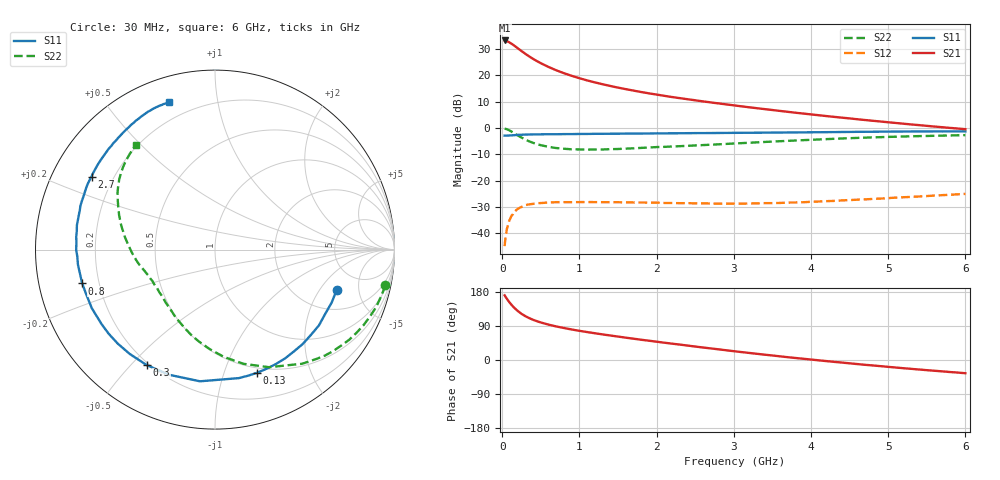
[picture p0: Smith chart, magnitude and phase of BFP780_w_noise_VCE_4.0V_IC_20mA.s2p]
! Infineon Technologies  Discrete & RF Semiconductors
! BFP780
! VCE =  4.0 V,  IC =  20 mA
! Common Emitter S-Parameters:  Jul 2015
# GHz  S  MA  R  50
!  f  S11  S21  S12  S22
! GHz  MAG  ANG  MAG  ANG  MAG  ANG  MAG  ANG
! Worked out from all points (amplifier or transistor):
!   75 points, 30 MHz to 6 GHz, reference 50 ohm
!   highest |S21| = 33.2 dB at 30 MHz (marker M1)
!   |S21| within 3 dB of that: start of sweep to 202 MHz
!   unconditionally stable (mu >= 1): 2.334 GHz to end of sweep
!   at 150 MHz: K = 0.10, MSG = 31.7 dB, |S12| = -32.0 dB
!   at 2.3 GHz: K = 0.99, MSG = 19.9 dB, |S12| = -28.6 dB
!   at 6 GHz: K = 1.32, MAG = 8.9 dB, |S12| = -25.0 dB
!   lowest NFmin = 0.94 dB at 450 MHz
!   S11 on the Smith chart (normalised r, x): 30 MHz: 3.15, -2.91; 130 MHz: 0.45, -1.30; 300 MHz: 0.19, -0.55; 800 MHz: 0.14, -0.12; 2.7 GHz: 0.12, +0.27; 6 GHz: 0.12, +0.73
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0.03  0.7141 -18.5  45.73 170.6  0.0057 75.0  0.9698 -11.9
0.05  0.7109 -30.4  44.95 164.2  0.0097 67.9  0.9531 -19.6
0.08  0.7181 -47.1  42.97 155.6  0.0154 65.8  0.9149 -30.4
0.11  0.7222 -61.9  40.4 147.8  0.02 57.1  0.8676 -40.7
0.13  0.7251 -71.1  38.71 143.1  0.0225 55.4  0.8324 -46.9
0.15  0.7282 -79.5  36.95 138.7  0.025 51.0  0.8004 -52.6
0.2  0.7385 -96.5  32.54 129.4  0.0292 42.5  0.7213 -65.3
0.25  0.7425 -110.0  28.75 121.7  0.0318 37.1  0.6558 -76.0
0.3  0.7476 -120.6  25.42 115.6  0.0343 32.2  0.5997 -85.3
0.35  0.7508 -129.3  22.7 110.4  0.0355 28.2  0.5552 -93.0
0.4  0.7537 -136.1  20.41 106.0  0.0362 24.7  0.5205 -99.8
0.5  0.7562 -146.7  16.9 99.0  0.0375 20.1  0.4699 -110.8
0.6  0.76 -154.6  14.34 93.3  0.0384 16.8  0.4377 -119.8
0.8  0.7636 -165.7  10.92 84.4  0.039 12.0  0.4029 -133.1
1.1  0.7682 -177.1  7.97 73.7  0.0392 8.3  0.3873 -146.8
1.5  0.7768 172.4  5.822 61.8  0.0389 5.5  0.3982 -158.6
2.1  0.7895 160.0  4.064 45.6  0.0376 4.2  0.4374 -170.9
2.7  0.7993 149.4  3.05 30.6  0.0368 5.9  0.4802 177.8
3.1  0.8081 142.8  2.57 20.9  0.0366 8.0  0.5146 170.3
4.1  0.829 128.0  1.742 -0.9  0.0401 13.8  0.604 153.7
5.1  0.8538 116.1  1.241 -19.9  0.0475 15.6  0.6815 139.5
6  0.8599 107.5  0.947 -34.9  0.056 13.2  0.7299 127.3
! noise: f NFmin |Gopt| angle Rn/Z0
0.45  0.94  0.15  144  0.07
0.9  1  0.21  161  0.09
1.5  1.11  0.31  175  0.06
1.8  1.3  0.38  -175  0.07
2.4  1.47  0.43  -159  0.08
3  1.8  0.48  -146  0.12
3.5  2.39  0.54  -130  0.2
